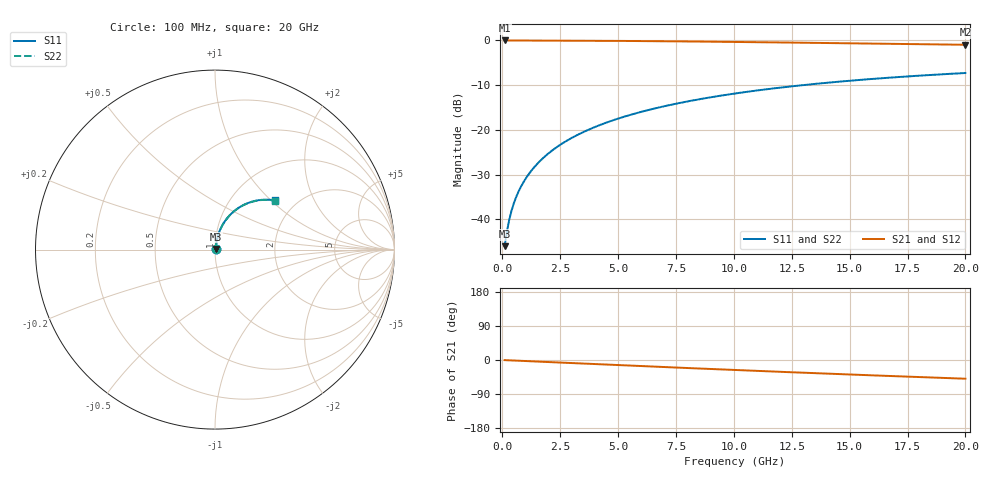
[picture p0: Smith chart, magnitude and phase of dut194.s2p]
! Touchstone file exported from HFSS 2026.1.0
!  File:  C:/ffzhzh/LocalFiles/Ansys_Project_Files/temp_train_TMRDL_194_1782983876_6248.aedt
!  Generated:  05:19:10 PM Jul  2, 2026
!  Design:  TMRDL
!  Project:  temp_train_TMRDL_194_1782983876_6248
! Variables:
!  h_bsmrdl = 2um
!  h_ox = 20um
!  h_rdl = 5um
!  h_sub = 80um
!  h_tmrdl = 2.39um
!  h_tsv = 80um
!  h_via = 3um
!  l_bsmrdl = 300um
!  l_sub = 1124.14um
!  l_tmrdl = 724.14um
!  m_sub = 200um
!  pitch = 59.38um
!  r_tsv = 6um
!  s_tmrdl = 10um
!  w_bsmrdl = 18um
!  w_sub = 500um
!  w_tmrdl = 29.21um
!  x_tsv_center1 = 738.745um
!  x_tsv_center2 = 1056.745um
!  x_tsv_center3 = 1810.095um
!  x_tsv_center4 = 2128.095um
!  x_tsv_center5 = 2881.445um
!  x_tsv_center6 = 3199.445um
# GHz S MA R 50.000000
! Terminal data exported
! Port[1] = TM_RDL1_1_T1
! Port[2] = TM_RDL1_1_T2
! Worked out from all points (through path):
!   200 points, 100 MHz to 20 GHz, reference 50 ohm
!   highest |S21| = -0.03 dB at 100 MHz (marker M1); lowest = -1.0 dB at 20 GHz (marker M2)
!   group delay of S21, straight-line fit = 6.88 ps
!   lowest |S11| = -46.0 dB at 100 MHz (marker M3), VSWR 1.01, Z = 50.4 + j0.305 ohm
!   |S11| at or under -10 dB: start of sweep to 13 GHz
!   |S22| runs from -46.0 to -7.3 dB; largest |S21 - S12| = 2e-15
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0.1  0.005032 36.9  0.996 -0.3  0.996 -0.3  0.005032 36.9
! Gamma 0 0 0 0
! Port Impedance 50 0 50 0
0.2  0.007324 54.7  0.9958 -0.6  0.9958 -0.6  0.007324 54.7
0.3  0.009919 62.9  0.9956 -0.9  0.9956 -0.9  0.009919 62.9
0.4  0.01256 67.4  0.9953 -1.1  0.9953 -1.1  0.01256 67.4
0.5  0.01519 70.2  0.9951 -1.4  0.9951 -1.4  0.01519 70.2
0.6  0.01781 72.2  0.9949 -1.7  0.9949 -1.7  0.01781 72.2
0.8  0.02305 74.8  0.9946 -2.2  0.9946 -2.2  0.02305 74.8
1.1  0.03093 77.0  0.9942 -3.0  0.9942 -3.0  0.03093 77.0
1.3  0.03622 77.8  0.9939 -3.5  0.9939 -3.5  0.03622 77.8
1.6  0.04417 78.5  0.9935 -4.3  0.9935 -4.3  0.04417 78.4
2.1  0.05747 78.7  0.9927 -5.7  0.9927 -5.7  0.05747 78.6
2.7  0.07342 78.2  0.9915 -7.3  0.9915 -7.3  0.07342 78.2
3.5  0.09456 77.0  0.9896 -9.4  0.9896 -9.4  0.09457 76.9
4.2  0.1129 75.6  0.9875 -11.3  0.9875 -11.3  0.1129 75.6
5  0.1336 73.9  0.9847 -13.4  0.9847 -13.4  0.1336 73.8
5.9  0.1564 71.8  0.981 -15.8  0.981 -15.8  0.1564 71.8
6.8  0.1788 69.7  0.9769 -18.1  0.9769 -18.1  0.1788 69.6
8.3  0.2149 66.1  0.9692 -22.0  0.9692 -22.0  0.2149 66.0
10.1  0.2559 61.8  0.9586 -26.5  0.9586 -26.5  0.2559 61.6
13.4  0.324 54.0  0.9369 -34.5  0.9369 -34.5  0.324 53.8
16.7  0.3825 46.5  0.9141 -42.1  0.9141 -42.1  0.3825 46.3
20  0.4314 39.4  0.8918 -49.4  0.8918 -49.4  0.4314 39.2
